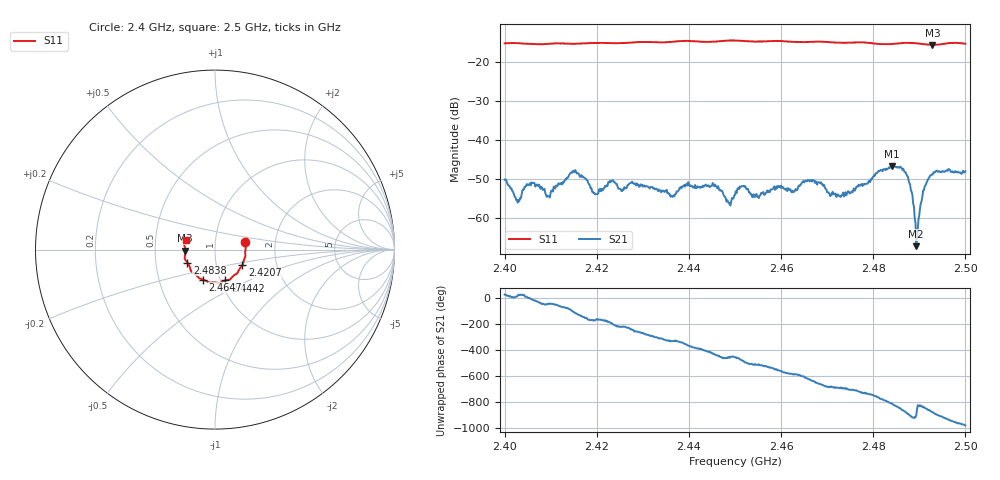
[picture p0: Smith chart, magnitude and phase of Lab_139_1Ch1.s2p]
# Hz S RI R 50
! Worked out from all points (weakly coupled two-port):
!   601 points, 2.4 GHz to 2.5 GHz, reference 50 ohm
!   highest |S21| = -46.75 dB at 2.484 GHz (marker M1); lowest = -67.2 dB at 2.4893 GHz (marker M2)
!   lowest |S11| = -15.6 dB at 2.4928 GHz (marker M3), VSWR 1.40, Z = 35.8 - j0.398 ohm
!   |S11| at or under -10 dB: start of sweep to end of sweep
!   S12 and S22 are empty: the file has one direction only
!   S11 on the Smith chart (normalised r, x): 2.4 GHz: 1.40, +0.12; 2.4207 GHz: 1.33, -0.24; 2.4442 GHz: 1.05, -0.37; 2.4647 GHz: 0.83, -0.29; 2.4838 GHz: 0.73, -0.11; 2.5 GHz: 0.72, +0.08
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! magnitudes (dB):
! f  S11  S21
! 2.4 GHz  -15.2  -50.2
! 2.403 GHz  -15.2  -55.4
! 2.4053 GHz  -15.4  -51.3
! 2.4095 GHz  -15.3  -54.4
! 2.4148 GHz  -15.4  -47.9
! 2.4167 GHz  -15.3  -49.0
! 2.4207 GHz  -15.1  -53.0
! 2.4333 GHz  -15.0  -53.1
! 2.4442 GHz  -14.9  -51.6
! 2.4487 GHz  -14.5  -56.2
! 2.45 GHz  -14.5  -54.1
! 2.4647 GHz  -14.9  -50.8
! 2.4667 GHz  -14.8  -50.7
! 2.4725 GHz  -15.1  -54.3
! 2.4833 GHz  -15.4  -47.2
! 2.4838 GHz  -15.4  -47.0
! 2.484 GHz  -15.4  -46.8
! 2.4875 GHz  -15.1  -49.4
! 2.4893 GHz  -15.2  -67.2
! 2.4912 GHz  -15.5  -52.0
! 2.4928 GHz  -15.6  -48.9
! 2.5 GHz  -15.3  -48.0
